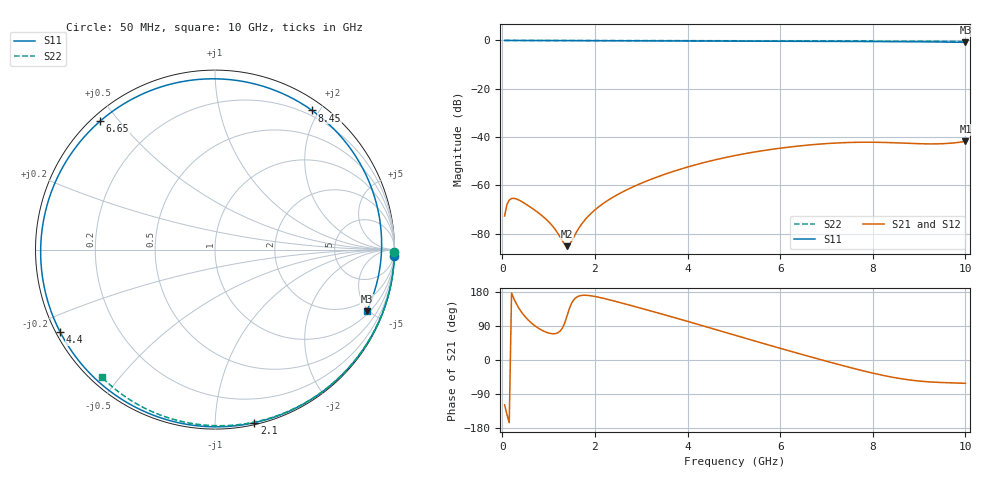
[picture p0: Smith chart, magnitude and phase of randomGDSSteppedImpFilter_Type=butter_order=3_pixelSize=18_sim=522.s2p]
! freq	dB(S11)	phase(S11)	dB(S12)	phase(S12)
!  dB(S21)	phase(S21)	dB(S22)	phase(S22)
!S-par simulation data
#  GHz  S  DB  R 50
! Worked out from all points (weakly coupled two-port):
!   200 points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, 50 MHz to 10 GHz, reference 50 ohm
!   highest |S21| = -41.80 dB at 10 GHz (marker M1); lowest = -85.1 dB at 1.4 GHz (marker M2)
!   lowest |S11| = -0.8 dB at 10 GHz (marker M3), VSWR 21.70, Z = 59.1 - j241 ohm
!   |S11| at or under -10 dB: nowhere
!   |S22| runs from -0.4 to 0.0 dB; largest |S21 - S12| = 0
!   S11 on the Smith chart (normalised r, x): 50 MHz: 0, -60; 2.1 GHz: 0.01, -1.25; 4.4 GHz: 0.01, -0.25; 6.65 GHz: 0.02, +0.45; 8.45 GHz: 0.13, +1.91; 10 GHz: 1.18, -4.83
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0.05  -0.00 -1.9  -72.66 -118.4  -72.66 -118.4  -0.00 -0.8
0.1  -0.00 -3.8  -67.90 -143.8  -67.90 -143.8  -0.00 -1.5
0.15  -0.00 -5.7  -66.08 -165.3  -66.08 -165.3  -0.00 -2.3
0.3  -0.01 -11.5  -65.57 149.2  -65.57 149.2  -0.00 -4.6
0.85  -0.03 -32.2  -72.40 78.9  -72.40 78.9  -0.01 -12.9
1.2  -0.05 -45.2  -79.85 71.8  -79.85 71.8  -0.02 -18.1
1.4  -0.06 -52.4  -85.15 117.2  -85.15 117.2  -0.03 -21.1
1.6  -0.07 -59.6  -79.37 165.4  -79.37 165.4  -0.03 -24.0
1.75  -0.08 -64.9  -75.08 170.8  -75.08 170.8  -0.03 -26.3
2.1  -0.10 -77.1  -68.59 165.1  -68.59 165.1  -0.04 -31.4
2.75  -0.12 -99.1  -61.25 144.8  -61.25 144.8  -0.05 -40.8
3.4  -0.15 -120.3  -56.13 122.9  -56.13 122.9  -0.07 -50.0
4.4  -0.20 -152.0  -50.32 87.8  -50.32 87.8  -0.09 -63.7
5.05  -0.24 -172.8  -47.54 64.5  -47.54 64.5  -0.11 -72.3
5.85  -0.29 160.6  -44.98 36.1  -44.98 36.1  -0.14 -82.6
6.65  -0.35 131.8  -43.22 8.5  -43.22 8.5  -0.18 -92.5
6.7  -0.36 129.9  -43.14 6.9  -43.14 6.9  -0.18 -93.1
7.55  -0.42 95.7  -42.19 -21.1  -42.19 -21.1  -0.23 -103.3
8.35  -0.48 59.8  -42.27 -43.7  -42.27 -43.7  -0.29 -112.7
8.45  -0.49 55.1  -42.33 -46.0  -42.33 -46.0  -0.30 -113.9
9.25  -0.58 16.0  -42.82 -58.0  -42.82 -58.0  -0.37 -123.0
10  -0.80 -22.2  -41.80 -61.6  -41.80 -61.6  -0.45 -131.5
